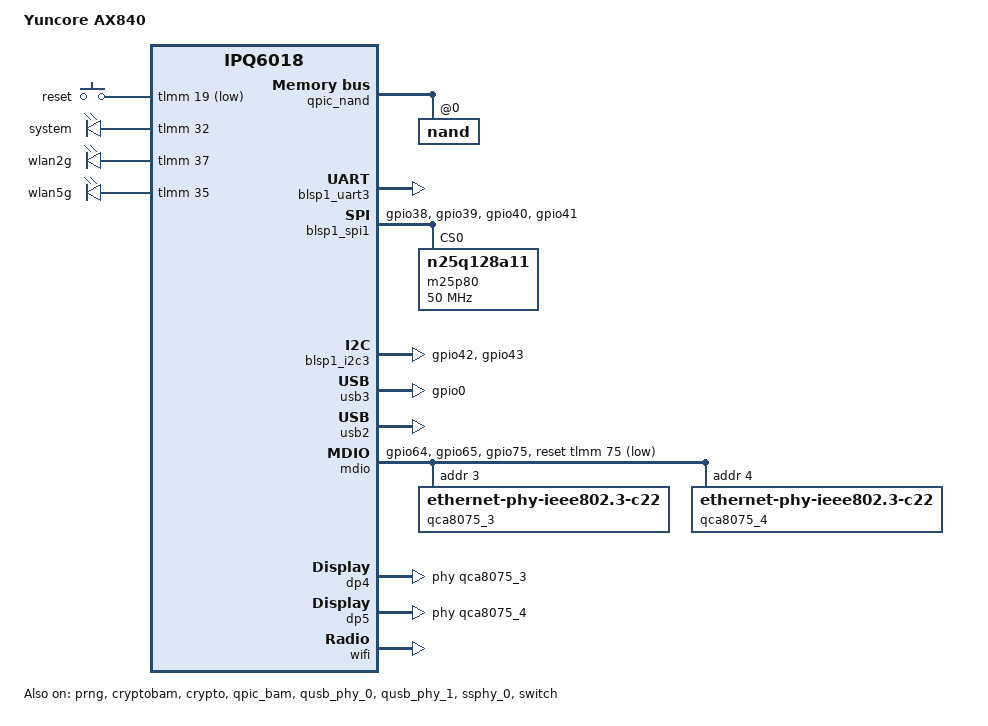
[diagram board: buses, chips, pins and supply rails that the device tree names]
/dts-v1/;
/*
 * Copyright (c) 2019, The Linux Foundation. All rights reserved.
 *
 * Permission to use, copy, modify, and/or distribute this software for any
 * purpose with or without fee is hereby granted, provided that the above
 * copyright notice and this permission notice appear in all copies.
 *
 * THE SOFTWARE IS PROVIDED "AS IS" AND THE AUTHOR DISCLAIMS ALL WARRANTIES
 * WITH REGARD TO THIS SOFTWARE INCLUDING ALL IMPLIED WARRANTIES OF
 * MERCHANTABILITY AND FITNESS. IN NO EVENT SHALL THE AUTHOR BE LIABLE FOR
 * ANY SPECIAL, DIRECT, INDIRECT, OR CONSEQUENTIAL DAMAGES OR ANY DAMAGES
 * WHATSOEVER RESULTING FROM LOSS OF USE, DATA OR PROFITS, WHETHER IN AN
 * ACTION OF CONTRACT, NEGLIGENCE OR OTHER TORTIOUS ACTION, ARISING OUT OF
 * OR IN CONNECTION WITH THE USE OR PERFORMANCE OF THIS SOFTWARE.
 */

#include "ipq6018.dtsi"
#include "ipq6018-ess.dtsi"
#include "ipq6018-512m.dtsi"
#include "ipq6018-cpr-regulator.dtsi"
#include "ipq6018-nss.dtsi"

#include <dt-bindings/input/input.h>
#include <dt-bindings/gpio/gpio.h>


/ {
	model = "Yuncore AX840";
	compatible = "yuncore,ax840", "qcom,ipq6018", "qcom,ipq6018-cp03";
	qcom,msm-id = <0x192 0x0>;

	aliases {
		ethernet0 = &dp5;
		ethernet1 = &dp4;
		led-boot = &led_system;
		led-failsafe = &led_system;
		led-running = &led_system;
		led-upgrade = &led_system;
	};

	chosen {
		stdout-path = "serial0:115200n8";
		bootargs-append = " ubi.block=0,rootfs root=/dev/ubiblock0_1 earlycon debug";
	};

    keys {
        compatible = "gpio-keys";

        reset {
            label = "reset";
            gpios = <&tlmm 19 GPIO_ACTIVE_LOW>;
            linux,code = <KEY_RESTART>;
        };
    };

    leds {
        compatible = "gpio-leds";

        led_system: led_system {
            label = "system";
            gpios = <&tlmm 32 GPIO_ACTIVE_HIGH>;
            color = "red";
        };

        led_wlan2g: led_wlan2g {
            label = "wlan2g";
            gpios = <&tlmm 37 GPIO_ACTIVE_HIGH>;
            color = "green";
        };

        led_wlan5g: led_wlan25 {
            label = "wlan5g";
            gpios = <&tlmm 35 GPIO_ACTIVE_HIGH>;
            color = "blue";
        };
    };
};

&qpic_nand {
	status = "okay";

	nand@0 {
		reg = <0>;

		nand-ecc-strength = <4>;
		nand-ecc-step-size = <512>;
		nand-bus-width = <8>;

		partitions {
			compatible = "qcom,smem-part";
		};
	};
};

&tlmm {
	gpio-reserved-ranges = <20 1>;

	spi_1_pins: spi_1_pins {
		mux {
			pins = "gpio38", "gpio39", "gpio40", "gpio41";
			function = "blsp0_spi";
			drive-strength = <8>;
			bias-pull-down;
		};
	};

	button_pins: button_pins {
		reset_button {
			pins = "gpio19";
			function = "gpio";
			drive-strength = <8>;
			bias-pull-up;
		};
	};

	mdio_pins: mdio-pins {
		mdc {
			pins = "gpio64";
			function = "mdc";
			drive-strength = <8>;
			bias-pull-up;
		};

		mdio {
			pins = "gpio65";
			function = "mdio";
			drive-strength = <8>;
			bias-pull-up;
		};

		mux_2 {
			pins = "gpio75";
			function = "gpio";
			bias-pull-up;
		};
	};

	usb_power_pins: usb_power_pins {
		mux {
			pins = "gpio0";
			function = "gpio";
			bias-pull-up;
			output-high;
		};
	};

	leds_pins: leds_pins {
		red {
			pins = "gpio32";
			function = "gpio";
			drive-strength = <8>;
			bias-pull-down;
		};
		green {
			pins = "gpio37";
			function = "gpio";
			drive-strength = <8>;
			bias-pull-down;
		};
		blue {
			pins = "gpio35";
			function = "gpio";
			drive-strength = <8>;
			bias-pull-down;
		};
		
	};

	i2c_1_pins: i2c_1_pins {
		mux {
			pins = "gpio42", "gpio43";
			function = "blsp2_i2c";
			drive-strength = <8>;
			bias-pull-down;
		};
	};
};

&blsp1_uart3 {
	pinctrl-0 = <&serial_3_pins>;
	pinctrl-names = "default";
	status = "okay";
};

&blsp1_spi1 {
	pinctrl-0 = <&spi_1_pins>;
	pinctrl-names = "default";
	cs-select = <0>;
	status = "okay";

	m25p80@0 {
		#address-cells = <1>;
		#size-cells = <1>;
		reg = <0>;
		compatible = "n25q128a11";
		linux,modalias = "m25p80", "n25q128a11";
		spi-max-frequency = <50000000>;
		use-default-sizes;
	};
};

&blsp1_i2c3 {
	pinctrl-0 = <&i2c_1_pins>;
	pinctrl-names = "default";
	status = "okay";
};

&prng {
	status = "okay";
};

&cryptobam {
	status = "okay";
};

&crypto {
	status = "okay";
};

&qpic_bam {
	status = "okay";
};

&qusb_phy_0 {
	status = "okay";
};

&qusb_phy_1 {
	status = "okay";
};


&ssphy_0 {
	status = "okay";
};

&usb3 {
	pinctrl-0 = <&usb_power_pins>;
	pinctrl-names = "default";
	status = "okay";
};

&usb2 {
	status = "okay";
};

&edma {
	status = "okay";
};

&mdio {
	status = "okay";

	pinctrl-0 = <&mdio_pins>;
	pinctrl-names = "default";
	reset-gpios = <&tlmm 75 GPIO_ACTIVE_LOW>;

	qca8075_3: ethernet-phy@0 {
		compatible = "ethernet-phy-ieee802.3-c22";
		reg = <3>;
	};

	qca8075_4: ethernet-phy@1 {
		compatible = "ethernet-phy-ieee802.3-c22";
		reg = <4>;
	};
};

&switch {
	status = "okay";
	switch_cpu_bmp = <ESS_PORT0>; /* cpu port bitmap */
	switch_lan_bmp = <ESS_PORT4>; /* lan port bitmap */
	switch_wan_bmp = <ESS_PORT5>; /* wan port bitmap */
	switch_inner_bmp = <(ESS_PORT6 | ESS_PORT7)>; /* wan port bitmap */
	switch_mac_mode = <MAC_MODE_PSGMII>; 
	switch_mac_mode1 = <MAC_MODE_DISABLED>;
	switch_mac_mode1 = <MAC_MODE_DISABLED>;

	qcom,port_phyinfo {
		port@4 {
			port_id = <4>;
			phy_address = <3>;
		};
		port@5 {
			port_id = <5>;
			phy_address = <4>;
		};
	};
};

&dp4 {
	status = "okay";
	phy-handle = <&qca8075_3>;
	label = "lan";
};

&dp5 {
	status = "okay";
	phy-handle = <&qca8075_4>;
	label = "wan";
};

&wifi {
 	qcom,ath11k-calibration-variant = "Yuncore-AX840";
	qcom,ath11k-fw-memory-mode = <1>;
	status = "okay";
};

&CPU0 {
	/delete-property/ cpu-supply;
};

&CPU1 {
	/delete-property/ cpu-supply;
};

&CPU2 {
	/delete-property/ cpu-supply;
};

&CPU3 {
	/delete-property/ cpu-supply;
};
